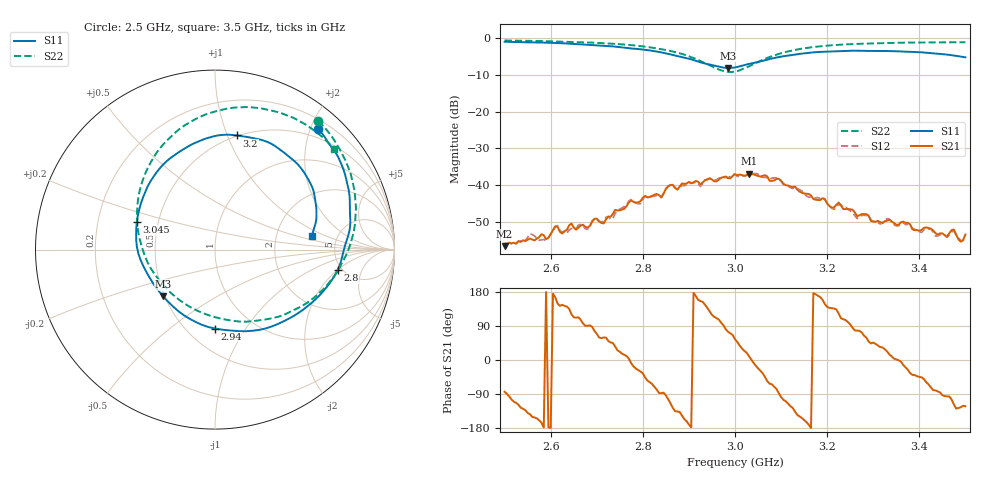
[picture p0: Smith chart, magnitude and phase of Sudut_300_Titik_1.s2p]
# Hz S RI R 50
! CMT, C1220, 16058040, 17.2.0/1
! Date: 15/08/2018 09:50:27
! Data: Format (Calibration Info)
! Freq  S11: Re/Im (F2)  S21: Re/Im (F2)  S12: Re/Im (F2)  S22: Re/Im (F2)
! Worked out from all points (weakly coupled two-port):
!   201 points, 2.5 GHz to 3.5 GHz, reference 50 ohm
!   highest |S21| = -36.86 dB at 3.03 GHz (marker M1); lowest = -56.5 dB at 2.5 GHz (marker M2)
!   lowest |S11| = -8.2 dB at 2.985 GHz (marker M3), VSWR 2.27, Z = 24.5 - j15 ohm
!   |S11| at or under -10 dB: nowhere
!   |S22| runs from -9.3 to -0.7 dB; largest |S21 - S12| = 0.0011
!   S11 on the Smith chart (normalised r, x): 2.5 GHz: 0.35, +2.13; 2.8 GHz: 4.62, -2.00; 2.94 GHz: 0.68, -0.74; 3.045 GHz: 0.38, +0.15; 3.2 GHz: 0.49, +1.08; 3.5 GHz: 3.22, +0.68
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2.5e9  0.5766 0.6694  0.000158 -0.00148  0.000216 -0.00163  0.5752 0.7176
2.59e9  0.6856 0.517  -0.00185 2.74e-05  -0.00177 -9.63e-05  0.6724 0.5964
2.61e9  0.703 0.4782  -0.00268 0.000701  -0.00265 0.000705  0.6927 0.5623
2.67e9  0.7457 0.3278  -0.000341 0.00289  -0.000148 0.00286  0.7479 0.4448
2.715e9  0.7526 0.1939  0.00155 0.00261  0.00159 0.00284  0.7761 0.3338
2.8e9  0.6838 -0.1124  0.00554 -0.0039  0.00539 -0.00356  0.7621 0.0574
2.835e9  0.5963 -0.2399  0.000374 -0.00734  0.000663 -0.00706  0.705 -0.0791
2.86e9  0.4916 -0.3344  -0.00416 -0.00918  -0.00412 -0.00912  0.637 -0.1822
2.94e9  7.39e-05 -0.4396  -0.00884 0.00809  -0.00908 0.00781  0.1761 -0.4016
2.985e9  -0.2894 -0.2598  0.00337 0.012  0.0029 0.0123  -0.1764 -0.2968
3e9  -0.3619 -0.1604  0.0081 0.0115  0.00885 0.0111  -0.2781 -0.2085
3.03e9  -0.4389 0.0498  0.0141 0.00263  0.0139 0.00264  -0.4081 0.0165
3.045e9  -0.4355 0.1552  0.0132 -0.00353  0.0139 -0.00351  -0.4334 0.138
3.105e9  -0.2688 0.4932  -0.00269 -0.0101  -0.00285 -0.00986  -0.326 0.5391
3.17e9  0.00805 0.6347  -0.0065 0.000426  -0.00652 -5.46e-05  -0.0702 0.7454
3.2e9  0.1221 0.6357  -0.00432 0.00362  -0.00423 0.00391  0.043 0.7799
3.265e9  0.3252 0.5829  0.000828 0.00372  0.000739 0.00346  0.2514 0.7873
3.335e9  0.4765 0.4569  0.00331 0.00087  0.00335 0.000751  0.4173 0.7416
3.46e9  0.5653 0.1756  -0.000212 -0.002  -0.00024 -0.00195  0.6187 0.608
3.475e9  0.5576 0.1376  -0.00115 -0.00223  -0.000983 -0.00216  0.6371 0.5895
3.49e9  0.5466 0.0991  -0.000977 -0.00141  -0.00108 -0.00138  0.6543 0.5705
3.5e9  0.5382 0.0749  -0.00114 -0.00182  -0.00115 -0.00159  0.6655 0.5577
